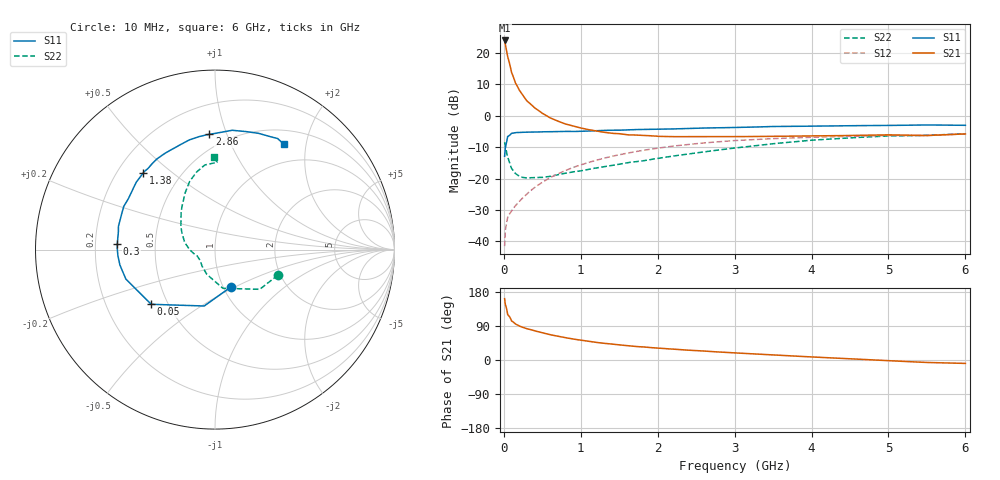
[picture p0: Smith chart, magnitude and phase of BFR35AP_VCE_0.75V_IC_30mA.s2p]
! Infineon Technologies  Discrete & RF Semiconductors
! BFR35AP
! VCE = 0.75 V,  IC =  30 mA
! Common Emitter S-Parameters:  Nov 2015
# GHz  S  MA  R  50
!  f  S11  S21  S12  S22
! GHz  MAG  ANG  MAG  ANG  MAG  ANG  MAG  ANG
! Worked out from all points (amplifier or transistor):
!   210 points, 10 MHz to 6 GHz, reference 50 ohm
!   highest |S21| = 23.9 dB at 10 MHz (marker M1)
!   |S21| within 3 dB of that: start of sweep to 33.88 MHz
!   unconditionally stable (mu >= 1): start of sweep to end of sweep
!   at 185 MHz: K = 3.12, MAG = 10.5 dB, |S12| = -27.7 dB
!   at 1.52 GHz: K = 2.73, MAG = -3.9 dB, |S12| = -12.3 dB
!   at 6 GHz: K = 1.19, MAG = -2.6 dB, |S12| = -5.8 dB
!   S11 on the Smith chart (normalised r, x): 10 MHz: 1.09, -0.48; 50 MHz: 0.40, -0.32; 300 MHz: 0.29, +0.03; 1.38 GHz: 0.31, +0.40; 2.86 GHz: 0.40, +0.87; 6 GHz: 0.70, +1.62
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0.01  0.2261 -66.9  15.67 161.7  0.0084 64.5  0.3783 -22.1
0.02  0.3199 -100.8  13.69 146.1  0.0152 58.2  0.3333 -41.6
0.05  0.4682 -139.4  8.662 119.9  0.0241 45.0  0.2202 -78.4
0.1  0.5231 -161.7  4.872 103.2  0.0308 46.0  0.1455 -108.1
0.15  0.5369 -170.9  3.323 94.9  0.0368 50.1  0.1204 -125.4
0.2  0.542 -176.3  2.556 89.8  0.043 54.7  0.109 -134.8
0.24  0.5442 -179.7  2.152 86.7  0.0484 57.2  0.1046 -140.4
0.26  0.545 178.9  1.983 85.2  0.0511 58.4  0.1034 -142.9
0.3  0.5455 176.6  1.711 82.5  0.0568 60.7  0.1024 -147.1
0.4  0.5461 170.3  1.331 76.9  0.0719 63.2  0.1036 -154.5
0.5  0.5533 166.5  1.09 71.8  0.0869 64.7  0.1043 -159.4
0.6  0.5547 162.1  0.924 66.8  0.1027 64.8  0.1081 -162.8
0.8  0.5625 154.6  0.737 58.9  0.1336 63.7  0.1214 -170.0
1.02  0.5641 145.8  0.628 51.8  0.1678 61.5  0.1339 -176.8
1.38  0.5853 133.1  0.528 42.6  0.2216 56.0  0.1597 171.6
2.02  0.6075 113.7  0.468 31.0  0.306 44.8  0.2103 151.8
2.86  0.6431 92.8  0.463 20.3  0.3898 30.2  0.2909 129.9
3.1  0.6513 88.2  0.464 17.7  0.4065 26.1  0.3151 124.7
4.1  0.682 73.9  0.477 7.1  0.456 11.8  0.4136 108.7
5.1  0.7002 64.1  0.492 -2.9  0.4833 -0.1  0.4764 95.2
5.5  0.7105 60.6  0.483 -6.5  0.4822 -4.7  0.4866 88.5
6  0.7015 56.9  0.512 -9.0  0.5109 -8.2  0.5142 90.8
